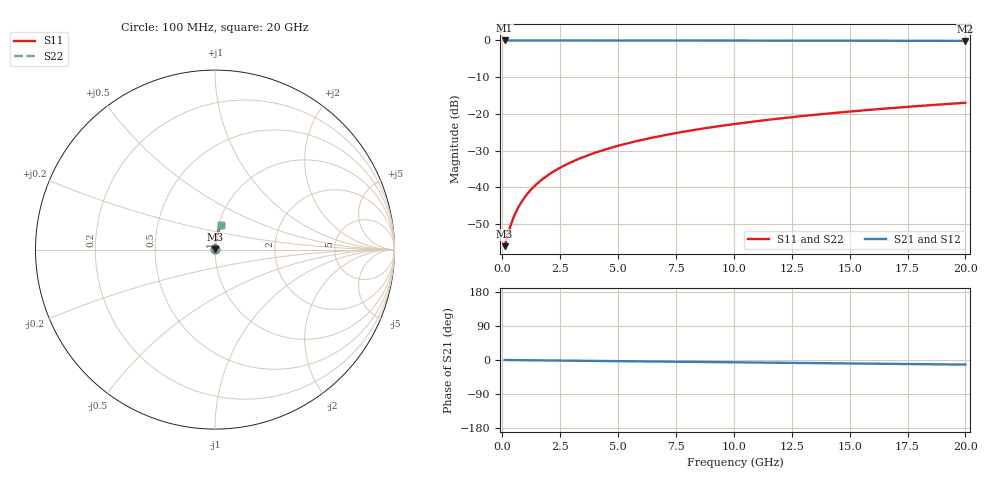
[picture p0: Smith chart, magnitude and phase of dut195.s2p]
! Touchstone file exported from HFSS 2026.1.0
!  File:  C:/ffzhzh/LocalFiles/Ansys_Project_Files/temp_train_TSV_195_1782991604_42984.aedt
!  Generated:  07:29:27 PM Jul  2, 2026
!  Design:  TSV
!  Project:  temp_train_TSV_195_1782991604_42984
! Variables:
!  h_bsmrdl = 2um
!  h_ox = 20um
!  h_rdl = 5um
!  h_sub = 87.01um
!  h_tmrdl = 5um
!  h_tsv = 87.01um
!  h_via = 3um
!  l_bsmrdl = 300um
!  l_sub = 405.38um
!  l_tmrdl = 200um
!  m_sub = 200um
!  pitch = 46.89um
!  r_tsv = 2.69um
!  s_tmrdl = 10um
!  w_bsmrdl = 18um
!  w_sub = 500um
!  w_tmrdl = 12um
!  x_tsv_center1 = 206um
!  x_tsv_center2 = 524um
!  x_tsv_center3 = 736um
!  x_tsv_center4 = 1054um
!  x_tsv_center5 = 1266um
!  x_tsv_center6 = 1584um
# GHz S MA R 50.000000
! Terminal data exported
! Port[1] = TSV1_1_T1
! Port[2] = TSV1_1_T2
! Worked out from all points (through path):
!   200 points, 100 MHz to 20 GHz, reference 50 ohm
!   highest |S21| = -0.01 dB at 100 MHz (marker M1); lowest = -0.1 dB at 20 GHz (marker M2)
!   group delay of S21, straight-line fit = 1.68 ps
!   lowest |S11| = -56.0 dB at 100 MHz (marker M3), VSWR 1.00, Z = 50.1 + j0.0747 ohm
!   |S11| at or under -10 dB: start of sweep to end of sweep
!   |S22| runs from -56.0 to -17.0 dB; largest |S21 - S12| = 3.2e-15
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0.1  0.001578 28.2  0.9986 -0.1  0.9986 -0.1  0.001578 28.2
! Gamma 0 0 0 0
! Port Impedance 50 0 50 0
0.3  0.002638 57.7  0.9986 -0.2  0.9986 -0.2  0.002638 57.7
0.4  0.003292 64.4  0.9986 -0.2  0.9986 -0.2  0.003292 64.4
0.5  0.003974 68.8  0.9986 -0.3  0.9986 -0.3  0.003974 68.8
0.6  0.004672 71.9  0.9986 -0.4  0.9986 -0.4  0.004672 71.9
0.7  0.00538 74.1  0.9986 -0.4  0.9986 -0.4  0.00538 74.1
0.9  0.006813 77.2  0.9985 -0.6  0.9985 -0.6  0.006813 77.2
1.2  0.008985 79.9  0.9985 -0.7  0.9985 -0.7  0.008985 79.9
1.4  0.01044 81.0  0.9985 -0.9  0.9985 -0.9  0.01044 81.0
1.7  0.01263 82.2  0.9984 -1.1  0.9984 -1.1  0.01263 82.2
2.2  0.01629 83.3  0.9983 -1.4  0.9983 -1.4  0.01629 83.3
2.8  0.02068 83.9  0.9982 -1.7  0.9982 -1.7  0.02068 83.9
3.5  0.0258 84.1  0.998 -2.2  0.998 -2.2  0.0258 84.1
4.2  0.0309 84.2  0.9978 -2.6  0.9978 -2.6  0.0309 84.2
5  0.03672 84.0  0.9975 -3.1  0.9975 -3.1  0.03672 84.0
5.9  0.04323 83.7  0.9971 -3.6  0.9971 -3.6  0.04323 83.7
6.8  0.04972 83.3  0.9966 -4.2  0.9966 -4.2  0.04972 83.3
8.3  0.06045 82.6  0.9958 -5.1  0.9958 -5.1  0.06045 82.6
10.1  0.07323 81.7  0.9946 -6.2  0.9946 -6.2  0.07323 81.7
13.4  0.09635 79.9  0.9922 -8.2  0.9922 -8.2  0.09635 79.9
16.7  0.1191 78.1  0.9893 -10.2  0.9893 -10.2  0.1191 78.1
20  0.1415 76.3  0.986 -12.1  0.986 -12.1  0.1415 76.3
